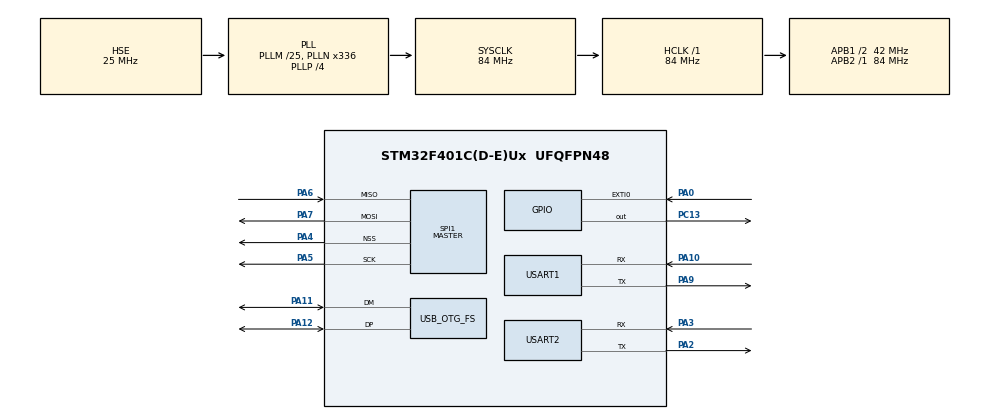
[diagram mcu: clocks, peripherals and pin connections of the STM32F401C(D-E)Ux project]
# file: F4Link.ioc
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Dma.Request0=USART1_RX
Dma.Request1=USART2_RX
Dma.USART1_RX.0.Direction=DMA_PERIPH_TO_MEMORY
Dma.USART1_RX.0.FIFOMode=DMA_FIFOMODE_DISABLE
Dma.USART1_RX.0.Instance=DMA2_Stream2
Dma.USART1_RX.0.MemDataAlignment=DMA_MDATAALIGN_BYTE
Dma.USART1_RX.0.MemInc=DMA_MINC_ENABLE
Dma.USART1_RX.0.Mode=DMA_NORMAL
Dma.USART1_RX.0.PeriphDataAlignment=DMA_PDATAALIGN_BYTE
Dma.USART1_RX.0.PeriphInc=DMA_PINC_DISABLE
Dma.USART1_RX.0.Priority=DMA_PRIORITY_LOW
Dma.USART2_RX.1.Direction=DMA_PERIPH_TO_MEMORY
Dma.USART2_RX.1.FIFOMode=DMA_FIFOMODE_DISABLE
Dma.USART2_RX.1.Instance=DMA1_Stream5
Dma.USART2_RX.1.MemDataAlignment=DMA_MDATAALIGN_BYTE
Dma.USART2_RX.1.MemInc=DMA_MINC_ENABLE
Dma.USART2_RX.1.Mode=DMA_NORMAL
Dma.USART2_RX.1.PeriphDataAlignment=DMA_PDATAALIGN_BYTE
Dma.USART2_RX.1.PeriphInc=DMA_PINC_DISABLE
Dma.USART2_RX.1.Priority=DMA_PRIORITY_LOW
FREERTOS.Mutexes01=elog_output_lock,Dynamic,NULL
FREERTOS.Tasks01=defaultTask,24,128,StartDefaultTask,Default,NULL,Dynamic,NULL,NULL
Mcu.Family=STM32F4
Mcu.Name=STM32F401C(D-E)Ux
Mcu.Package=UFQFPN48
NVIC.DMA1_Stream5_IRQn=true\:5\:0\:false\:false\:true\:true\:false\:true\:true
NVIC.DMA2_Stream2_IRQn=true\:5\:0\:false\:false\:true\:true\:false\:true\:true
NVIC.OTG_FS_IRQn=true\:5\:0\:false\:false\:true\:true\:false\:true\:true
NVIC.PriorityGroup=NVIC_PRIORITYGROUP_4
NVIC.TIM1_UP_TIM10_IRQn=true\:15\:0\:false\:false\:true\:false\:false\:true\:true
NVIC.TimeBase=TIM1_UP_TIM10_IRQn
NVIC.TimeBaseIP=TIM1
NVIC.USART1_IRQn=true\:5\:0\:false\:false\:true\:true\:true\:true\:true
NVIC.USART2_IRQn=true\:5\:0\:false\:false\:true\:true\:true\:true\:true
PA0-WKUP.GPIO_ModeDefaultEXTI=GPIO_MODE_IT_RISING_FALLING
PA0-WKUP.GPIO_PuPd=GPIO_PULLUP
PA0-WKUP.Signal=GPXTI0
PA10.Mode=Asynchronous
PA10.Signal=USART1_RX
PA11.Mode=Device_Only
PA11.Signal=USB_OTG_FS_DM
PA12.Mode=Device_Only
PA12.Signal=USB_OTG_FS_DP
PA13.Mode=Serial_Wire
PA13.Signal=SYS_JTMS-SWDIO
PA14.Mode=Serial_Wire
PA14.Signal=SYS_JTCK-SWCLK
PA2.Mode=Asynchronous
PA2.Signal=USART2_TX
PA3.Mode=Asynchronous
PA3.Signal=USART2_RX
PA4.Mode=NSS_Signal_Hard_Output
PA4.Signal=SPI1_NSS
PA5.Mode=Full_Duplex_Master
PA5.Signal=SPI1_SCK
PA6.Mode=Full_Duplex_Master
PA6.Signal=SPI1_MISO
PA7.Mode=Full_Duplex_Master
PA7.Signal=SPI1_MOSI
PA9.Mode=Asynchronous
PA9.Signal=USART1_TX
PC13-ANTI_TAMP.GPIO_PuPd=GPIO_PULLUP
PC13-ANTI_TAMP.PinState=GPIO_PIN_RESET
PC13-ANTI_TAMP.Signal=GPIO_Output
PC14-OSC32_IN.Mode=LSE-External-Oscillator
PC14-OSC32_IN.Signal=RCC_OSC32_IN
PC15-OSC32_OUT.Mode=LSE-External-Oscillator
PC15-OSC32_OUT.Signal=RCC_OSC32_OUT
PH0\ -\ OSC_IN.Mode=HSE-External-Oscillator
PH0\ -\ OSC_IN.Signal=RCC_OSC_IN
PH1\ -\ OSC_OUT.Mode=HSE-External-Oscillator
PH1\ -\ OSC_OUT.Signal=RCC_OSC_OUT
ProjectManager.HeapSize=0x400
ProjectManager.StackSize=0x800
ProjectManager.TargetToolchain=MDK-ARM V5.32
RCC.48MHZClocksFreq_Value=48000000
RCC.AHBFreq_Value=84000000
RCC.APB1CLKDivider=RCC_HCLK_DIV2
RCC.APB1Freq_Value=42000000
RCC.APB1TimFreq_Value=84000000
RCC.APB2Freq_Value=84000000
RCC.APB2TimFreq_Value=84000000
RCC.CortexFreq_Value=84000000
RCC.HCLKFreq_Value=84000000
RCC.HSE_VALUE=25000000
RCC.HSI_VALUE=16000000
RCC.PLLM=25
RCC.PLLN=336
RCC.PLLP=RCC_PLLP_DIV4
RCC.PLLQ=7
RCC.SYSCLKFreq_VALUE=84000000
RCC.SYSCLKSource=RCC_SYSCLKSOURCE_PLLCLK
RCC.VCOOutputFreq_Value=336000000
SPI1.Direction=SPI_DIRECTION_2LINES
SPI1.Mode=SPI_MODE_MASTER
SPI1.VirtualNSS=VM_NSSHARD
SPI1.VirtualType=VM_MASTER
USART1.VirtualMode=VM_ASYNC
USART2.VirtualMode=VM_ASYNC
USB_DEVICE.CLASS_NAME_FS=CDC
USB_DEVICE.MANUFACTURER_STRING-CDC_FS=MYLK
USB_DEVICE.PRODUCT_STRING_CDC_FS=F4Link
USB_DEVICE.VirtualMode-CDC_FS=Cdc
USB_DEVICE.VirtualModeFS=Cdc_FS
USB_OTG_FS.VirtualMode=Device_Only
VP_FREERTOS_VS_CMSIS_V2.Mode=CMSIS_V2
VP_SYS_VS_tim1.Mode=TIM1
VP_USB_DEVICE_VS_USB_DEVICE_CDC_FS.Mode=CDC_FS
board=custom

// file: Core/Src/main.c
/* USER CODE BEGIN Header */
/**
  ******************************************************************************
  * @file           : main.c
  * @brief          : Main program body
  ******************************************************************************
  * @attention
  *
  * Copyright (c) 2022 STMicroelectronics.
  * All rights reserved.
  *
  * This software is licensed under terms that can be found in the LICENSE file
  * in the root directory of this software component.
  * If no LICENSE file comes with this software, it is provided AS-IS.
  *
  ******************************************************************************
  */
/* USER CODE END Header */
#include "main.h"
#include "cmsis_os.h"
#include "dma.h"
#include "spi.h"
#include "usart.h"
#include "usb_device.h"
#include "gpio.h"

void SystemClock_Config(void);
void MX_FREERTOS_Init(void);

int main(void)
{

  /* MCU Configuration--------------------------------------------------------*/

  /* Reset of all peripherals, Initializes the Flash interface and the Systick. */
  HAL_Init();

  /* Configure the system clock */
  SystemClock_Config();

  /* Initialize all configured peripherals */
  MX_GPIO_Init();
  MX_DMA_Init();
  MX_USART1_UART_Init();
  MX_USART2_UART_Init();
  MX_SPI1_Init();

  /* Init scheduler */
  osKernelInitialize();  /* Call init function for freertos objects (in freertos.c) */
  MX_FREERTOS_Init();

  /* Start scheduler */
  osKernelStart();

  /* We should never get here as control is now taken by the scheduler */
  /* Infinite loop */
  while (1)
  {

  }
}

void SystemClock_Config(void)
{
  RCC_OscInitTypeDef RCC_OscInitStruct = {0};
  RCC_ClkInitTypeDef RCC_ClkInitStruct = {0};

  /** Configure the main internal regulator output voltage
  */
  __HAL_RCC_PWR_CLK_ENABLE();
  __HAL_PWR_VOLTAGESCALING_CONFIG(PWR_REGULATOR_VOLTAGE_SCALE2);

  /** Initializes the RCC Oscillators according to the specified parameters
  * in the RCC_OscInitTypeDef structure.
  */
  RCC_OscInitStruct.OscillatorType = RCC_OSCILLATORTYPE_HSE;
  RCC_OscInitStruct.HSEState = RCC_HSE_ON;
  RCC_OscInitStruct.PLL.PLLState = RCC_PLL_ON;
  RCC_OscInitStruct.PLL.PLLSource = RCC_PLLSOURCE_HSE;
  RCC_OscInitStruct.PLL.PLLM = 25;
  RCC_OscInitStruct.PLL.PLLN = 336;
  RCC_OscInitStruct.PLL.PLLP = RCC_PLLP_DIV4;
  RCC_OscInitStruct.PLL.PLLQ = 7;
  if (HAL_RCC_OscConfig(&RCC_OscInitStruct) != HAL_OK)
  {
    Error_Handler();
  }

  /** Initializes the CPU, AHB and APB buses clocks
  */
  RCC_ClkInitStruct.ClockType = RCC_CLOCKTYPE_HCLK|RCC_CLOCKTYPE_SYSCLK
                              |RCC_CLOCKTYPE_PCLK1|RCC_CLOCKTYPE_PCLK2;
  RCC_ClkInitStruct.SYSCLKSource = RCC_SYSCLKSOURCE_PLLCLK;
  RCC_ClkInitStruct.AHBCLKDivider = RCC_SYSCLK_DIV1;
  RCC_ClkInitStruct.APB1CLKDivider = RCC_HCLK_DIV2;
  RCC_ClkInitStruct.APB2CLKDivider = RCC_HCLK_DIV1;

  if (HAL_RCC_ClockConfig(&RCC_ClkInitStruct, FLASH_LATENCY_2) != HAL_OK)
  {
    Error_Handler();
  }
}

/* USER CODE BEGIN 4 */
#include "DAP_config.h"
CoreDescriptor_t * pCoreDescriptor;

/** Setup JTAG I/O pins: TCK, TMS, TDI, TDO, nTRST, and nRESET.
  Configures the DAP Hardware I/O pins for JTAG mode:
  - TCK, TMS, TDI, nTRST, nRESET to output mode and set to high level.
  - TDO to input mode.
*/
void PORT_JTAG_SETUP()
{
}

/** Disable JTAG/SWD I/O Pins.
Disables the DAP Hardware I/O pins which configures:
- TCK/SWCLK, TMS/SWDIO, TDI, TDO, nTRST, nRESET to High-Z mode.
*/
void PORT_OFF()
{
}

/** Setup SWD I/O pins: SWCLK, SWDIO, and nRESET.
  Configures the DAP Hardware I/O pins for Serial Wire Debug (SWD) mode:
  - SWCLK, SWDIO, nRESET to output mode and set to default high level.
  - TDI, TDO, nTRST to HighZ mode (pins are unused in SWD mode).
*/
void PORT_SWD_SETUP()
{

}

void vResetTarget(uint8_t bit)
{

}
/* USER CODE END 4 */

void HAL_TIM_PeriodElapsedCallback(TIM_HandleTypeDef *htim)
{
  if (htim->Instance == TIM1) {
    HAL_IncTick();
  }
}

void Error_Handler(void)
{
  __disable_irq();
  while (1)
  {
  }
}

int fputc(int ch, FILE *p)
{
    SEGGER_RTT_PutChar(0, ch);
    return ch;
}

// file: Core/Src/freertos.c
/* USER CODE BEGIN Header */
/**
  ******************************************************************************
  * File Name          : freertos.c
  * Description        : Code for freertos applications
  ******************************************************************************
  * @attention
  *
  * Copyright (c) 2022 STMicroelectronics.
  * All rights reserved.
  *
  * This software is licensed under terms that can be found in the LICENSE file
  * in the root directory of this software component.
  * If no LICENSE file comes with this software, it is provided AS-IS.
  *
  ******************************************************************************
  */
/* USER CODE END Header */

#include "FreeRTOS.h"
#include "task.h"
#include "main.h"
#include "cmsis_os.h"

/* Definitions for defaultTask */
osThreadId_t defaultTaskHandle;
const osThreadAttr_t defaultTask_attributes = {
  .name = "defaultTask",
  .stack_size = 128 * 4,
  .priority = (osPriority_t) osPriorityNormal,
};
/* Definitions for elog_output_lock */
osMutexId_t elog_output_lockHandle;
const osMutexAttr_t elog_output_lock_attributes = {
  .name = "elog_output_lock"
};

void StartDefaultTask(void *argument);

extern void MX_USB_DEVICE_Init(void);
void MX_FREERTOS_Init(void); /* (MISRA C 2004 rule 8.1) */

void MX_FREERTOS_Init(void) {
  /* Create the mutex(es) */
  /* creation of elog_output_lock */
  elog_output_lockHandle = osMutexNew(&elog_output_lock_attributes);

  /* Create the thread(s) */
  /* creation of defaultTask */
  defaultTaskHandle = osThreadNew(StartDefaultTask, NULL, &defaultTask_attributes);

}

void StartDefaultTask(void *argument)
{
  /* init code for USB_DEVICE */
  MX_USB_DEVICE_Init();
  /* USER CODE BEGIN StartDefaultTask */
  if (elog_init() == ELOG_NO_ERR)
  {
    /* set enabled format */
    elog_set_fmt(ELOG_LVL_ASSERT, ELOG_FMT_ALL & ~ELOG_FMT_P_INFO);
    elog_set_fmt(ELOG_LVL_ERROR, ELOG_FMT_LVL | ELOG_FMT_TAG | ELOG_FMT_TIME);
    elog_set_fmt(ELOG_LVL_WARN, ELOG_FMT_LVL | ELOG_FMT_TAG | ELOG_FMT_TIME);
    elog_set_fmt(ELOG_LVL_INFO, ELOG_FMT_LVL | ELOG_FMT_TAG | ELOG_FMT_TIME);
    elog_set_fmt(ELOG_LVL_DEBUG, ELOG_FMT_ALL & ~(ELOG_FMT_FUNC | ELOG_FMT_P_INFO));
    elog_set_fmt(ELOG_LVL_VERBOSE, ELOG_FMT_ALL & ~(ELOG_FMT_FUNC | ELOG_FMT_P_INFO));

    /* start EasyLogger */
    elog_start();
  }
  else
  {
    printf("ELOG INIT ERR");
  }

  /* Infinite loop */
  for(;;)
  {
    osDelay(1);
  }
  /* USER CODE END StartDefaultTask */
}
